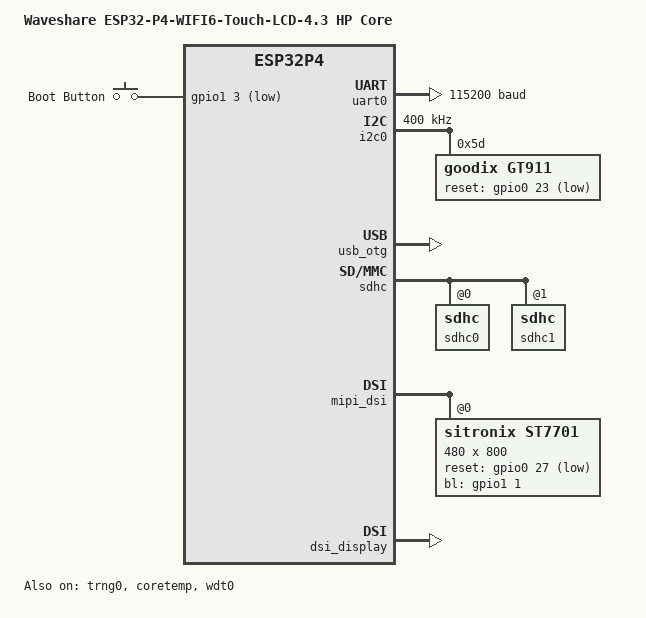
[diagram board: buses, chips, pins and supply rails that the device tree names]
/*
 * SPDX-FileCopyrightText: Copyright The Zephyr Project Contributors
 *
 * SPDX-License-Identifier: Apache-2.0
 */

/dts-v1/;

#include <espressif/esp32p4/esp32p4.dtsi>
#include "esp32p4_wifi6_touch_lcd_4_3_esp32p4_hpcore-pinctrl.dtsi"
#include <zephyr/dt-bindings/input/input-event-codes.h>
#include <zephyr/dt-bindings/display/panel.h>
#include <zephyr/dt-bindings/mipi_dsi/mipi_dsi.h>
#include <espressif/partitions_0x2000_default_32M.dtsi>

/ {
	model = "Waveshare ESP32-P4-WIFI6-Touch-LCD-4.3 HP Core";
	compatible = "espressif,esp32p4";

	chosen {
		zephyr,sram = &sramhp;
		zephyr,console = &uart0;
		zephyr,shell-uart = &uart0;
		zephyr,flash = &flash0;
		zephyr,code-partition = &slot0_partition;
		zephyr,bt-hci = &esp_hosted_mcu_hci;
		zephyr,display = &dsi_display;
		zephyr,touch = &gt911;
	};

	aliases {
		sdhc0 = &sdhc0;
		sw0 = &boot_button;
		watchdog0 = &wdt0;
	};

	gpio_keys {
		compatible = "gpio-keys";

		boot_button: button {
			label = "Boot Button";
			gpios = <&gpio1 3 (GPIO_PULL_UP | GPIO_ACTIVE_LOW)>;
			zephyr,code = <INPUT_KEY_0>;
		};
	};
};

&flash0 {
	reg = <0x0 DT_SIZE_M(32)>;
	ranges = <0x0 0x0 DT_SIZE_M(32)>;
};

&psram0 {
	size = <DT_SIZE_M(32)>;
};

/* v3.x silicon: valid CPU frequencies are 100/200/400 MHz */
&cpu0 {
	clock-frequency = <DT_FREQ_M(400)>;
};

&cpu1 {
	clock-frequency = <DT_FREQ_M(400)>;
};

&uart0 {
	status = "okay";
	current-speed = <115200>;
	pinctrl-0 = <&uart0_default>;
	pinctrl-names = "default";
};

&i2c0 {
	status = "okay";
	clock-frequency = <I2C_BITRATE_FAST>;
	pinctrl-0 = <&i2c0_default>;
	pinctrl-names = "default";

	gt911: touch-controller@5d {
		compatible = "goodix,gt911";
		status = "okay";
		reg = <0x5d>;
		/*
		 * The INT line is not routed to the SoC, so the address is the
		 * one the panel straps and the driver polls the controller.
		 */
		alt-addr = <0x14>;
		reset-gpios = <&gpio0 23 GPIO_ACTIVE_LOW>;
		screen-width = <480>;
		screen-height = <800>;
	};
};

/* ES8311 codec and ES7210 echo canceller, for which there is no driver yet. */
&i2s0 {
	status = "disabled";
	pinctrl-0 = <&i2s0_default>;
	pinctrl-names = "default";
};

&trng0 {
	status = "okay";
};

&coretemp {
	status = "okay";
};

&gpio0 {
	status = "okay";
};

&gpio1 {
	status = "okay";
};

&wdt0 {
	status = "okay";
};

&dma {
	status = "okay";
};

&dma_axi {
	status = "okay";
};

zephyr_udc0: &usb_otg {
	status = "okay";
};

&sdhc {
	sdhc0: sdhc@0 {
		status = "okay";
		bus-width = <4>;
		max-bus-freq = <40000000>;
		clk-pin = <43>;
		cmd-pin = <44>;
		d0-pin = <39>;
		d1-pin = <40>;
		d2-pin = <41>;
		d3-pin = <42>;

		mmc {
			compatible = "zephyr,sdmmc-disk";
			disk-name = "SD";
			status = "okay";
		};
	};

	sdhc1: sdhc@1 {
		status = "okay";
		bus-width = <4>;
		max-bus-freq = <40000000>;
		clk-pin = <18>;
		cmd-pin = <19>;
		d0-pin = <14>;
		d1-pin = <15>;
		d2-pin = <16>;
		d3-pin = <17>;
		#address-cells = <1>;
		#size-cells = <0>;

		esp_hosted_mcu: esp-hosted-mcu@0 {
			compatible = "espressif,esp-hosted-mcu";
			reg = <0>;
			/* GPIO54: ESP32-C6 CHIP_PU */
			reset-gpios = <&gpio1 22 GPIO_ACTIVE_HIGH>;
			status = "okay";

			esp_hosted_mcu_wifi: wifi {
				compatible = "espressif,esp-hosted-mcu-wifi";
				status = "okay";
			};

			esp_hosted_mcu_hci: bt-hci {
				compatible = "espressif,esp-hosted-mcu-bt-hci";
				status = "okay";
			};
		};
	};
};

&ldo {
	status = "okay";

	ldo1@1 {
		regulator-init-microvolt = <3300000>;
		regulator-boot-on;
		regulator-always-on;
	};

	ldo2@2 {
		regulator-init-microvolt = <1800000>;
		regulator-boot-on;
		regulator-always-on;
	};

	/* VDD_MIPI_DPHY */
	ldo3@3 {
		regulator-init-microvolt = <2500000>;
		regulator-boot-on;
		regulator-always-on;
	};

	ldo4@4 {
		regulator-init-microvolt = <3300000>;
		regulator-boot-on;
		regulator-always-on;
	};
};

&mipi_dsi {
	status = "okay";
	phy-clock = <500000000>;
	dpi-clock-frequency = <30000000>;

	st7701: panel-controller@0 {
		compatible = "sitronix,st7701";
		reg = <0>;
		data-lanes = <2>;
		pixel-format = <MIPI_DSI_PIXFMT_RGB565>;
		width = <480>;
		height = <800>;
		reset-gpios = <&gpio0 27 GPIO_ACTIVE_LOW>;
		/* GPIO33 enables the AP3032 backlight boost converter. */
		bl-gpios = <&gpio1 1 GPIO_ACTIVE_HIGH>;

		/*
		 * Panel settings that differ from the driver defaults. The
		 * line setting is left out because the value derived from the
		 * 800 line height is the one the panel needs.
		 */
		bk3-ef = [ef 08];
		porctrl = [c1 0d 02];
		invsel = [c2 17 08];
		cc-control = [cc 10];
		vrhs = <0x5d>;
		vcom = <0x4e>;
		vgls = <0x4e>;
		pwctlr2 = <0x21>;
		pvgamctrl = [b0 40 c9 94 0e 10 05 0b 09 08 26 04 52 10 69 6b 69];
		nvgamctrl = [b1 40 d2 98 0c 92 07 09 08 07 25 02 0e 0c 6e 78 55];
		gip-e0 = [e0 00 3a 02];
		gip-e1 = [e1 04 a0 00 a0 05 a0 00 a0 00 40 40];
		gip-e2 = [e2 30 00 40 40 32 a0 00 a0 00 a0 00 a0 00];
		gip-e3 = [e3 00 00 33 33];
		gip-e4 = [e4 44 44];
		gip-e5 = [e5 09 2e a0 a0 0b 30 a0 a0 05 2a a0 a0 07 2c a0 a0];
		gip-e6 = [e6 00 00 33 33];
		gip-e7 = [e7 44 44];
		gip-e8 = [e8 08 2d a0 a0 0a 2f a0 a0 04 29 a0 a0 06 2b a0 a0];
		gip-eb = [eb 00 00 4e 4e 00 00 00];
		gip-ec = [ec 08 01];
		gip-ed = [ed b0 2b 98 a4 56 7f ff ff ff ff f7 65 4a 89 b2 0b];
		gip-ef = [ef 08 08 08 45 3f 54];

		display-timings {
			compatible = "zephyr,panel-timing";
			hsync-len = <12>;
			hback-porch = <42>;
			hfront-porch = <42>;
			vsync-len = <8>;
			vback-porch = <2>;
			vfront-porch = <60>;
			hsync-active = <0>;
			vsync-active = <0>;
			de-active = <1>;
			pixelclk-active = <0>;
		};
	};
};

&dsi_display {
	status = "okay";
	pixel-format = <PANEL_PIXEL_FORMAT_RGB_565>;
	width = <480>;
	height = <800>;
};
